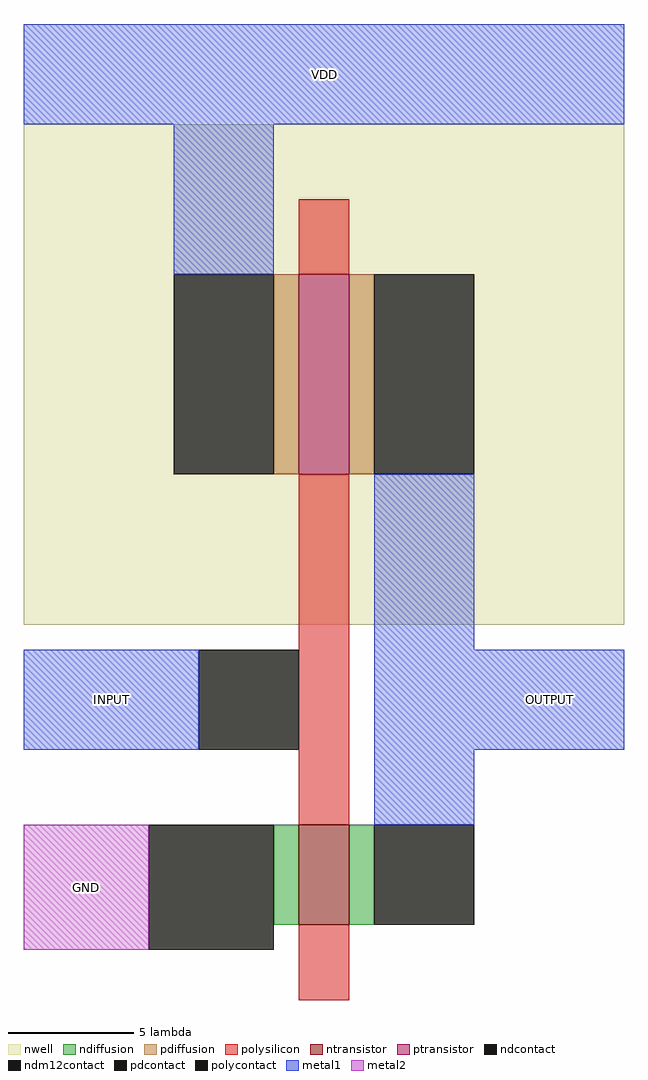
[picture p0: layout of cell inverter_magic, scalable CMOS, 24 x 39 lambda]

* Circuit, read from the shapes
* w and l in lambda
.subckt inverter_magic GND INPUT OUTPUT VDD
M1 OUTPUT INPUT GND VSUBS nfet w=4 l=2
M2 OUTPUT INPUT VDD n1 pfet w=8 l=2
.ends

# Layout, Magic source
magic
tech scmos
<< nwell >>
rect 0 0 24 20
<< ntransistor >>
rect 11 -12 13 -8
<< ptransistor >>
rect 11 6 13 14
<< ndiffusion >>
rect 10 -12 11 -8
rect 13 -12 14 -8
<< pdiffusion >>
rect 10 6 11 14
rect 13 6 14 14
<< ndcontact >>
rect 14 -12 18 -8
<< pdcontact >>
rect 6 6 10 14
rect 14 6 18 14
<< polysilicon >>
rect 11 14 13 17
rect 11 -8 13 6
rect 11 -15 13 -12
<< polycontact >>
rect 7 -5 11 -1
<< metal1 >>
rect 0 20 24 24
rect 6 14 10 20
rect 14 -1 18 6
rect 0 -5 7 -1
rect 14 -5 24 -1
rect 14 -8 18 -5
<< ndm12contact >>
rect 5 -13 10 -8
<< metal2 >>
rect 0 -13 5 -8
<< labels >>
rlabel metal1 0 20 24 24 5 VDD
rlabel metal2 0 -13 5 -8 2 GND
rlabel metal1 0 -5 7 -1 3 INPUT
rlabel metal1 18 -5 24 -1 1 OUTPUT
<< end >>
